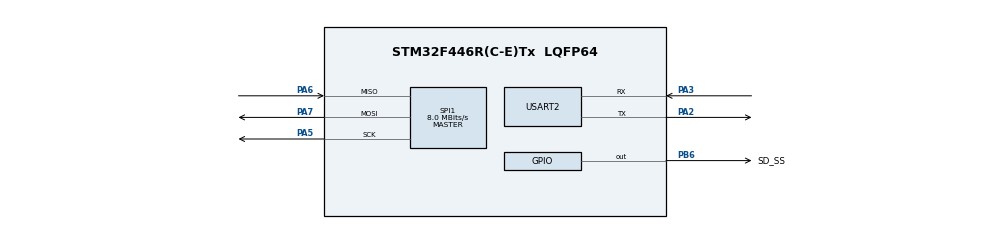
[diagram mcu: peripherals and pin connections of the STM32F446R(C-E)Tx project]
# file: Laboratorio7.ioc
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FATFS._MAX_SS=4096
FATFS._USE_LFN=1
FATFS._USE_STRFUNC=0
Mcu.Family=STM32F4
Mcu.Name=STM32F446R(C-E)Tx
Mcu.Package=LQFP64
NVIC.PriorityGroup=NVIC_PRIORITYGROUP_4
NVIC.USART2_IRQn=true\:0\:0\:false\:false\:true\:true\:true\:true
PA2.Mode=Asynchronous
PA2.Signal=USART2_TX
PA3.Mode=Asynchronous
PA3.Signal=USART2_RX
PA5.Mode=Full_Duplex_Master
PA5.Signal=SPI1_SCK
PA6.Mode=Full_Duplex_Master
PA6.Signal=SPI1_MISO
PA7.Mode=Full_Duplex_Master
PA7.Signal=SPI1_MOSI
PB6.GPIO_Label=SD_SS
PB6.Signal=GPIO_Output
ProjectManager.HeapSize=0x200
ProjectManager.StackSize=0x400
ProjectManager.TargetToolchain=STM32CubeIDE
RCC.CortexFreq_Value=16000000
RCC.USBFreq_Value=96000000
RCC.VCOOutputFreq_Value=192000000
SPI1.BaudRatePrescaler=SPI_BAUDRATEPRESCALER_2
SPI1.CalculateBaudRate=8.0 MBits/s
SPI1.Direction=SPI_DIRECTION_2LINES
SPI1.Mode=SPI_MODE_MASTER
SPI1.VirtualType=VM_MASTER
USART2.VirtualMode=VM_ASYNC
VP_FATFS_VS_Generic.Mode=User_defined
board=custom

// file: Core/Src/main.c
/* USER CODE BEGIN Header */
/**
  ******************************************************************************
  * @file           : main.c
  * @brief          : Main program body
  ******************************************************************************
  * @attention
  *
  * Copyright (c) 2024 STMicroelectronics.
  * All rights reserved.
  *
  * This software is licensed under terms that can be found in the LICENSE file
  * in the root directory of this software component.
  * If no LICENSE file comes with this software, it is provided AS-IS.
  *
  ******************************************************************************
  */
/* USER CODE END Header */
#include "main.h"
#include "fatfs.h"

/* USER CODE BEGIN Includes */
#include "fatfs_sd.h"
#include "string.h"
#include "stdio.h"
/* USER CODE END Includes */

/* USER CODE BEGIN PD */
#define BUFFER_SIZE 128
SPI_HandleTypeDef hspi1;
FATFS fs;
FATFS *pfs;
FIL fil;
FRESULT fres;
DWORD fre_clust;
uint32_t totalSpace, freeSpace;
char archivo[100];
char buffer[BUFFER_SIZE];  // Buffer para almacenar los datos leídos
UINT bytesRead;
uint8_t respuesta[1];
/* USER CODE END PD */

SPI_HandleTypeDef hspi1;

UART_HandleTypeDef huart2;

void SystemClock_Config(void);
static void MX_GPIO_Init(void);
static void MX_SPI1_Init(void);
static void MX_USART2_UART_Init(void);

int main(void)
{

  /* MCU Configuration--------------------------------------------------------*/

  /* Reset of all peripherals, Initializes the Flash interface and the Systick. */
  HAL_Init();

  /* USER CODE BEGIN Init */
  //sending to UART
  void transmit_uart(char *string){
	  uint8_t len=strlen(string);
	  HAL_UART_Transmit(&huart2, (uint8_t*)string, len, 200);
  }

  void read_file_and_send_uart(const char *filename) {
      FIL fil;          // Estructura para el archivo
      FATFS fs;         // Estructura para el sistema de archivos
      FRESULT fres;     // Resultado de las operaciones FatFS
      UINT bytesRead;   // Número de bytes leídos
      char buffer[BUFFER_SIZE];  // Buffer para almacenar los datos leídos

      // 1. Montar la SD
      fres = f_mount(&fs, "", 0);
      if (fres == FR_OK) {
          transmit_uart("Micro SD card is mounted successfully!\n");
      } else {
          transmit_uart("Micro SD card mount error!\n");
          return;  // Si no se puede montar la SD, salir de la función
      }

      // 2. Abrir el archivo pasado como parámetro
      fres = f_open(&fil, filename, FA_READ);
      if (fres == FR_OK) {
          transmit_uart("File opened for reading.\n");
      } else {
          transmit_uart("File was not opened for reading!\n");
          f_mount(NULL, "", 0);  // Desmontar la SD antes de salir
          return;
      }

      // 3. Leer el archivo y enviar el contenido por UART
      do {
          fres = f_read(&fil, buffer, sizeof(buffer) - 1, &bytesRead);
          if (fres == FR_OK) {
              buffer[bytesRead] = '\0';  // Terminar el buffer con null
              transmit_uart(buffer);     // Enviar el contenido por UART
          } else {
              transmit_uart("Error reading file.\n");
              break;
          }
      } while (bytesRead > 0);  // Continuar leyendo hasta que no haya más datos

      // 4. Cerrar el archivo
      fres = f_close(&fil);
      if (fres == FR_OK) {
          transmit_uart("The file is closed.\n");
      } else {
          transmit_uart("The file was not closed.\n");
      }

      // 5. Desmontar la SD
      fres = f_mount(NULL, "", 0);
      if (fres == FR_OK) {
          transmit_uart("SD card unmounted successfully!\n");
      } else {
          transmit_uart("SD card unmount error!\n");
      }
  }

  void list_files_and_send_uart(void) {
      FATFS fs;            // Estructura para el sistema de archivos
      FILINFO fno;         // Información del archivo
      DIR dir;             // Estructura para el directorio
      FRESULT fres;        // Resultado de las operaciones FatFS
      char buffer[BUFFER_SIZE];  // Buffer para almacenar los nombres de archivos

      // 1. Montar la SD
      fres = f_mount(&fs, "", 0);
      if (fres == FR_OK) {
          transmit_uart("Micro SD card is mounted successfully!\n");
      } else {
          transmit_uart("Micro SD card mount error!\n");
          return;  // Si no se puede montar la SD, salir de la función
      }

      // 2. Abrir el directorio raíz
      fres = f_opendir(&dir, "/");
      if (fres == FR_OK) {
          transmit_uart("Root directory opened.\n");
      } else {
          transmit_uart("Error opening root directory.\n");
          f_mount(NULL, "", 0);  // Desmontar la SD antes de salir
          return;
      }

      // 3. Leer los archivos y enviar sus nombres por UART
      while (1) {
          fres = f_readdir(&dir, &fno);  // Leer el siguiente archivo
          if (fres != FR_OK || fno.fname[0] == 0) {
              break;  // Salir del bucle si ocurre un error o si no hay más archivos
          }

          // Verificar si es un archivo o un directorio
          if (fno.fattrib & AM_DIR) {
              snprintf(buffer, BUFFER_SIZE, "Directory: %s\n", fno.fname);
          } else {
              snprintf(buffer, BUFFER_SIZE, "File: %s\n", fno.fname);
          }

          // Enviar el nombre del archivo o directorio por UART
          transmit_uart(buffer);
      }

      // 4. Cerrar el directorio
      fres = f_closedir(&dir);
      if (fres == FR_OK) {
          transmit_uart("Directory closed.\n");
      } else {
          transmit_uart("Directory was not closed.\n");
      }

      // 5. Desmontar la SD
      fres = f_mount(NULL, "", 0);
      if (fres == FR_OK) {
          transmit_uart("SD card unmounted successfully!\n");
      } else {
          transmit_uart("SD card unmount error!\n");
      }
  }

  /* USER CODE END Init */

  /* Configure the system clock */
  SystemClock_Config();

  /* Initialize all configured peripherals */
  MX_GPIO_Init();
  MX_SPI1_Init();
  MX_USART2_UART_Init();
  MX_FATFS_Init();
  /* USER CODE BEGIN 2 */
   /*fres = f_mount(&fs, "/", 0);
   if(fres == FR_OK){
 	  transmit_uart("Micro SD card is mounted successfully!\n");
   }
   else if (fres != FR_OK){
 	  transmit_uart("Micro SD card mount error!\n");
   }*/

  /* USER CODE END 2 */

  /* Infinite loop */
  while (1)
  {
	  transmit_uart("Ingrese un numero:\n1:Ver archivos\n2:Seleccionar archivo\n");
	  HAL_UART_Receive(&huart2, &respuesta, 1,10000);
	  if (respuesta[0]=='1'){
		  transmit_uart("Lista de archivos: \n");
		  list_files_and_send_uart();
	  }
	  if (respuesta[0]=='2'){
		  transmit_uart("Seleccione un archivo: \n");
		  HAL_UART_Receive(&huart2, &respuesta, 1,10000);
		  if (respuesta[0]=='1'){
			  read_file_and_send_uart("ascii-Heart.txt");
			  transmit_uart("\n");
		  }
		  if (respuesta[0]=='2'){
			  read_file_and_send_uart("ascii-penguin.txt");
			  transmit_uart("\n");
		  }
		  if (respuesta[0]=='3'){
			  read_file_and_send_uart("ascii-creeper.txt");
			  transmit_uart("\n");
		  }
	  }
	  respuesta[0]=='0';

  }
}

void SystemClock_Config(void)
{
  RCC_OscInitTypeDef RCC_OscInitStruct = {0};
  RCC_ClkInitTypeDef RCC_ClkInitStruct = {0};

  /** Configure the main internal regulator output voltage
  */
  __HAL_RCC_PWR_CLK_ENABLE();
  __HAL_PWR_VOLTAGESCALING_CONFIG(PWR_REGULATOR_VOLTAGE_SCALE3);

  /** Initializes the RCC Oscillators according to the specified parameters
  * in the RCC_OscInitTypeDef structure.
  */
  RCC_OscInitStruct.OscillatorType = RCC_OSCILLATORTYPE_HSI;
  RCC_OscInitStruct.HSIState = RCC_HSI_ON;
  RCC_OscInitStruct.HSICalibrationValue = RCC_HSICALIBRATION_DEFAULT;
  RCC_OscInitStruct.PLL.PLLState = RCC_PLL_NONE;
  if (HAL_RCC_OscConfig(&RCC_OscInitStruct) != HAL_OK)
  {
    Error_Handler();
  }

  /** Initializes the CPU, AHB and APB buses clocks
  */
  RCC_ClkInitStruct.ClockType = RCC_CLOCKTYPE_HCLK|RCC_CLOCKTYPE_SYSCLK
                              |RCC_CLOCKTYPE_PCLK1|RCC_CLOCKTYPE_PCLK2;
  RCC_ClkInitStruct.SYSCLKSource = RCC_SYSCLKSOURCE_HSI;
  RCC_ClkInitStruct.AHBCLKDivider = RCC_SYSCLK_DIV1;
  RCC_ClkInitStruct.APB1CLKDivider = RCC_HCLK_DIV1;
  RCC_ClkInitStruct.APB2CLKDivider = RCC_HCLK_DIV1;

  if (HAL_RCC_ClockConfig(&RCC_ClkInitStruct, FLASH_LATENCY_0) != HAL_OK)
  {
    Error_Handler();
  }
}

static void MX_SPI1_Init(void)
{

  /* SPI1 parameter configuration*/
  hspi1.Instance = SPI1;
  hspi1.Init.Mode = SPI_MODE_MASTER;
  hspi1.Init.Direction = SPI_DIRECTION_2LINES;
  hspi1.Init.DataSize = SPI_DATASIZE_8BIT;
  hspi1.Init.CLKPolarity = SPI_POLARITY_LOW;
  hspi1.Init.CLKPhase = SPI_PHASE_1EDGE;
  hspi1.Init.NSS = SPI_NSS_SOFT;
  hspi1.Init.BaudRatePrescaler = SPI_BAUDRATEPRESCALER_2;
  hspi1.Init.FirstBit = SPI_FIRSTBIT_MSB;
  hspi1.Init.TIMode = SPI_TIMODE_DISABLE;
  hspi1.Init.CRCCalculation = SPI_CRCCALCULATION_DISABLE;
  hspi1.Init.CRCPolynomial = 10;
  if (HAL_SPI_Init(&hspi1) != HAL_OK)
  {
    Error_Handler();
  }

}

static void MX_USART2_UART_Init(void)
{

  huart2.Instance = USART2;
  huart2.Init.BaudRate = 115200;
  huart2.Init.WordLength = UART_WORDLENGTH_8B;
  huart2.Init.StopBits = UART_STOPBITS_1;
  huart2.Init.Parity = UART_PARITY_NONE;
  huart2.Init.Mode = UART_MODE_TX_RX;
  huart2.Init.HwFlowCtl = UART_HWCONTROL_NONE;
  huart2.Init.OverSampling = UART_OVERSAMPLING_16;
  if (HAL_UART_Init(&huart2) != HAL_OK)
  {
    Error_Handler();
  }

}

static void MX_GPIO_Init(void)
{
  GPIO_InitTypeDef GPIO_InitStruct = {0};

  /* GPIO Ports Clock Enable */
  __HAL_RCC_GPIOA_CLK_ENABLE();
  __HAL_RCC_GPIOB_CLK_ENABLE();

  /*Configure GPIO pin Output Level */
  HAL_GPIO_WritePin(SD_SS_GPIO_Port, SD_SS_Pin, GPIO_PIN_RESET);

  /*Configure GPIO pin : SD_SS_Pin */
  GPIO_InitStruct.Pin = SD_SS_Pin;
  GPIO_InitStruct.Mode = GPIO_MODE_OUTPUT_PP;
  GPIO_InitStruct.Pull = GPIO_NOPULL;
  GPIO_InitStruct.Speed = GPIO_SPEED_FREQ_LOW;
  HAL_GPIO_Init(SD_SS_GPIO_Port, &GPIO_InitStruct);

}

void Error_Handler(void)
{
  __disable_irq();
  while (1)
  {
  }
}
